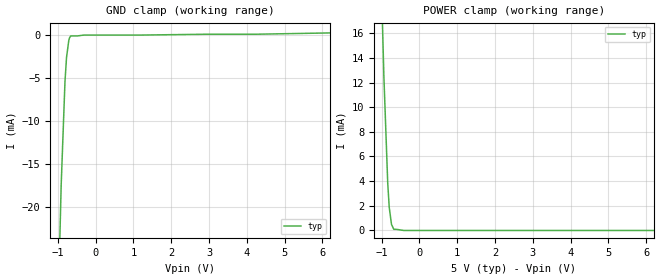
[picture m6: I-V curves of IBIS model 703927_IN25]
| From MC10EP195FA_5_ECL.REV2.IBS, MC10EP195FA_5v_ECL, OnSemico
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| (C) COPYRIGHT 1993-2001
| MENTOR GRAPHICS CORPORATION
| ICX STANDARD LIBRARY, ICX PROJECT MODELING,
| ICX CUSTOM MODELING, ICX VENDOR MODEL
| ALL RIGHTS RESERVED.
| THE FOLLOWING ARE TRADEMARKS OR SERVICE MARKS OF
| MENTOR GRAPHICS CORPORATION:ICX (R), ICX STANDARD
| LIBRARY(R), ICX PROJECT MODELING(R), ICX CUSTOM
| MODELING(R), qualityIBIS(TM), MODELVIEWER(TM),
| AND MODELEDITOR(TM)
| ALL COPIES OF SOFTWARE, INCLUDING BUT NOT LIMITED TO
| ANY MODIFICATIONS, ENHANCEMENTS OR DERIVATIVE WORKS,
| MUST CONTAIN ALL MENTOR GRAPHICS CORPORATION'S
| NOTICES AND LEGENDS, INCLUDING THOSE EMBEDDED IN
| SOFTWARE AND THOSE AFFIXED TO SOFTWARE MEDIUM
| AND CONTAINER, AS RECEIVED FROM MENTOR GRAPHICS
| CORPORATION.
| Model Application Version 1.89 2/18/99.
[Model] 703927_IN25
Model_type Input_ECL
Vinl = 3.455V
Vinh = 3.855V
C_comp 4.000pF NA NA
| variable typ   min   max
[Voltage Range] 5.000V NA NA
[GND Clamp Reference] 0.000V NA NA
[POWER Clamp Reference] 5.000V NA NA
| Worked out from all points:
|   GND clamp passes 1 mA (typ) near -0.72 V on its own axis
|   POWER clamp passes 1 mA (typ) near -0.76 V on its own axis
[GND Clamp]
-5V       -982.7mA   NA         NA
-1.034V   -39.1mA    NA         NA
-912mV    -17.5mA    NA         NA
-811mV    -5.4mA     NA         NA
-770mV    -2.6mA     NA         NA
-709mV    -600uA     NA         NA
-689mV    -300uA     NA         NA
-658.7mV  -100uA     NA         NA
-314.2mV  0A         NA         NA
4.236V    100uA      NA         NA
10V       544.2uA    NA         NA
[POWER Clamp]
-5V       588.3mA    NA         NA
-1.041V   24.06mA    NA         NA
-939mV    12.47mA    NA         NA
-838mV    3.877mA    NA         NA
-798mV    1.88mA     NA         NA
-737mV    484.4uA    NA         NA
-676mV    93.76uA    NA         NA
-615mV    93.76uA    NA         NA
-410mV    0A         NA         NA
10V       0A         NA         NA
